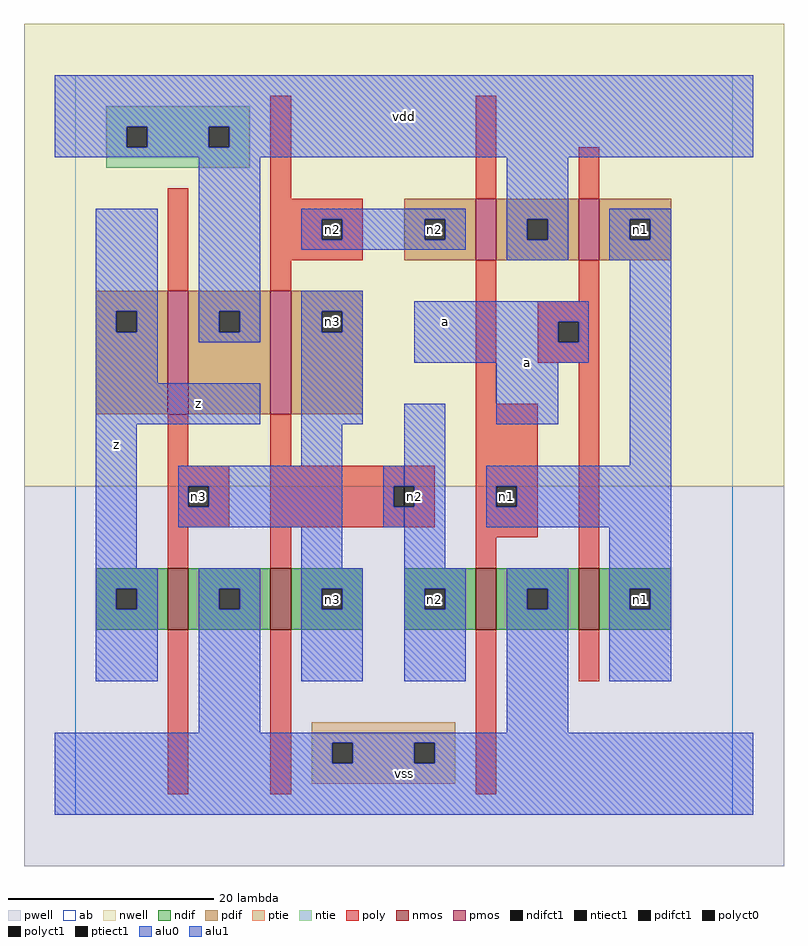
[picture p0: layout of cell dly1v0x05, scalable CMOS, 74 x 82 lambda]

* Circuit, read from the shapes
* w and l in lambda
.subckt dly1v0x05 a n1 n2 n3 vdd vss z
M1 vss n3 z vss nfet w=6 l=2
M2 n3 n2 vss vss nfet w=6 l=2
M3 vss n1 n2 vss nfet w=6 l=2
M4 n1 a vss vss nfet w=6 l=2
M5 vdd n3 z vdd pfet w=12 l=2
M6 n3 n2 vdd vdd pfet w=12 l=2
M7 vdd n1 n2 vdd pfet w=6 l=2
M8 n1 a vdd vdd pfet w=6 l=2
.ends

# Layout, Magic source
magic
tech scmos
<< ab >>
rect 0 0 64 72
<< nwell >>
rect -5 32 69 77
<< pwell >>
rect -5 -5 69 32
<< poly >>
rect 9 51 11 61
rect 19 60 21 70
rect 39 60 41 70
rect 49 60 51 65
rect 19 58 28 60
rect 19 56 24 58
rect 26 56 28 58
rect 19 54 28 56
rect 19 51 21 54
rect 39 40 41 54
rect 49 50 51 54
rect 45 48 51 50
rect 45 46 47 48
rect 49 46 51 48
rect 45 44 51 46
rect 9 34 11 39
rect 19 34 21 39
rect 9 32 15 34
rect 9 30 11 32
rect 13 30 15 32
rect 9 28 15 30
rect 19 32 35 34
rect 19 30 31 32
rect 33 30 35 32
rect 19 28 35 30
rect 39 32 45 40
rect 39 30 41 32
rect 43 30 45 32
rect 9 24 11 28
rect 19 24 21 28
rect 39 27 45 30
rect 39 24 41 27
rect 49 24 51 44
rect 9 2 11 18
rect 19 2 21 18
rect 39 2 41 18
rect 49 13 51 18
<< ndif >>
rect 2 22 9 24
rect 2 20 4 22
rect 6 20 9 22
rect 2 18 9 20
rect 11 22 19 24
rect 11 20 14 22
rect 16 20 19 22
rect 11 18 19 20
rect 21 22 28 24
rect 21 20 24 22
rect 26 20 28 22
rect 21 18 28 20
rect 32 22 39 24
rect 32 20 34 22
rect 36 20 39 22
rect 32 18 39 20
rect 41 22 49 24
rect 41 20 44 22
rect 46 20 49 22
rect 41 18 49 20
rect 51 22 58 24
rect 51 20 54 22
rect 56 20 58 22
rect 51 18 58 20
<< pdif >>
rect 32 58 39 60
rect 32 56 34 58
rect 36 56 39 58
rect 32 54 39 56
rect 41 58 49 60
rect 41 56 44 58
rect 46 56 49 58
rect 41 54 49 56
rect 51 58 58 60
rect 51 56 54 58
rect 56 56 58 58
rect 51 54 58 56
rect 2 49 9 51
rect 2 47 4 49
rect 6 47 9 49
rect 2 39 9 47
rect 11 49 19 51
rect 11 47 14 49
rect 16 47 19 49
rect 11 39 19 47
rect 21 49 28 51
rect 21 47 24 49
rect 26 47 28 49
rect 21 39 28 47
<< alu1 >>
rect -2 67 66 72
rect -2 65 5 67
rect 7 65 13 67
rect 15 65 66 67
rect -2 64 66 65
rect 2 49 8 59
rect 2 47 4 49
rect 6 47 8 49
rect 2 42 8 47
rect 12 49 18 64
rect 22 58 38 59
rect 22 56 24 58
rect 26 56 34 58
rect 36 56 38 58
rect 22 55 38 56
rect 42 58 48 64
rect 42 56 44 58
rect 46 56 48 58
rect 42 54 48 56
rect 52 58 58 59
rect 52 56 54 58
rect 56 56 58 58
rect 52 54 58 56
rect 12 47 14 49
rect 16 47 18 49
rect 12 46 18 47
rect 22 49 28 51
rect 22 47 24 49
rect 26 47 28 49
rect 2 38 18 42
rect 22 38 28 47
rect 33 48 50 50
rect 33 46 47 48
rect 49 46 50 48
rect 33 44 50 46
rect 2 24 6 38
rect 22 34 26 38
rect 10 32 26 34
rect 10 30 11 32
rect 13 30 26 32
rect 10 28 26 30
rect 32 32 36 40
rect 41 38 47 44
rect 54 34 58 54
rect 33 30 36 32
rect 22 24 26 28
rect 32 24 36 30
rect 40 32 58 34
rect 40 30 41 32
rect 43 30 58 32
rect 40 28 58 30
rect 2 22 8 24
rect 2 20 4 22
rect 6 20 8 22
rect 2 13 8 20
rect 12 22 18 24
rect 12 20 14 22
rect 16 20 18 22
rect 12 8 18 20
rect 22 22 28 24
rect 22 20 24 22
rect 26 20 28 22
rect 22 13 28 20
rect 32 22 38 24
rect 32 20 34 22
rect 36 20 38 22
rect 32 13 38 20
rect 42 22 48 24
rect 42 20 44 22
rect 46 20 48 22
rect 42 8 48 20
rect 52 22 58 28
rect 52 20 54 22
rect 56 20 58 22
rect 52 13 58 20
rect -2 7 66 8
rect -2 5 25 7
rect 27 5 33 7
rect 35 5 66 7
rect -2 0 66 5
<< ptie >>
rect 23 7 37 9
rect 23 5 25 7
rect 27 5 33 7
rect 35 5 37 7
rect 23 3 37 5
<< ntie >>
rect 3 67 17 69
rect 3 65 5 67
rect 7 65 13 67
rect 15 65 17 67
rect 3 63 17 65
<< nmos >>
rect 9 18 11 24
rect 19 18 21 24
rect 39 18 41 24
rect 49 18 51 24
<< pmos >>
rect 39 54 41 60
rect 49 54 51 60
rect 9 39 11 51
rect 19 39 21 51
<< polyct0 >>
rect 31 30 32 32
<< polyct1 >>
rect 24 56 26 58
rect 47 46 49 48
rect 11 30 13 32
rect 32 30 33 32
rect 41 30 43 32
<< ndifct1 >>
rect 4 20 6 22
rect 14 20 16 22
rect 24 20 26 22
rect 34 20 36 22
rect 44 20 46 22
rect 54 20 56 22
<< ntiect1 >>
rect 5 65 7 67
rect 13 65 15 67
<< ptiect1 >>
rect 25 5 27 7
rect 33 5 35 7
<< pdifct1 >>
rect 34 56 36 58
rect 44 56 46 58
rect 54 56 56 58
rect 4 47 6 49
rect 14 47 16 49
rect 24 47 26 49
<< alu0 >>
rect 30 32 32 34
rect 30 30 31 32
rect 30 28 32 30
<< labels >>
rlabel polyct1 12 31 12 31 6 n3
rlabel ndifct1 25 21 25 21 6 n3
rlabel pdifct1 25 48 25 48 6 n3
rlabel polyct1 25 57 25 57 6 n2
rlabel ndifct1 35 21 35 21 6 n2
rlabel alu1 33 31 33 31 6 n2
rlabel pdifct1 35 57 35 57 6 n2
rlabel ndifct1 55 21 55 21 6 n1
rlabel polyct1 42 31 42 31 6 n1
rlabel pdifct1 55 57 55 57 6 n1
rlabel alu1 12 40 12 40 6 z
rlabel alu1 4 36 4 36 6 z
rlabel alu1 32 4 32 4 6 vss
rlabel alu1 36 48 36 48 6 a
rlabel alu1 44 44 44 44 6 a
rlabel alu1 32 68 32 68 6 vdd
<< end >>
